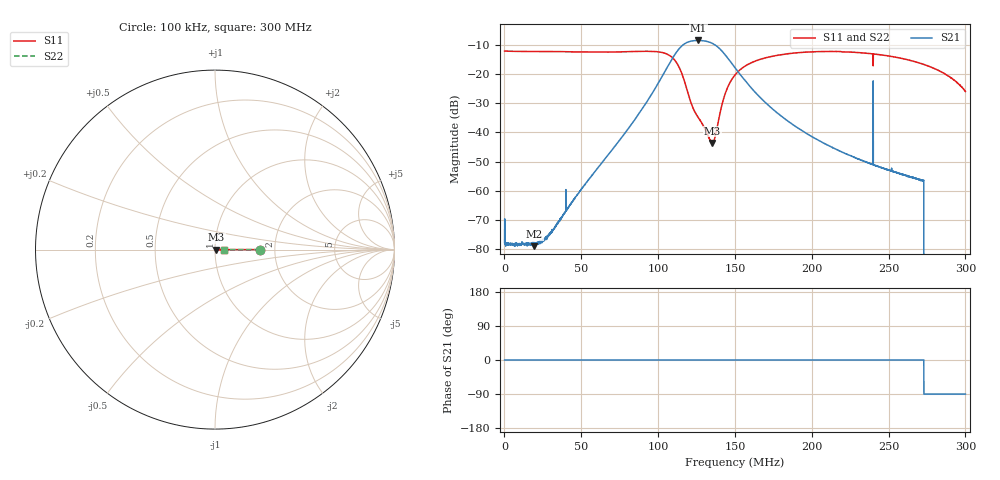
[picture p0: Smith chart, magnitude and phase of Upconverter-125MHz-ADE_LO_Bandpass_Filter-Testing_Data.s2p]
! ListType=Lin
! Comment=Upconverter-125MHz-ADE LO Bandpass Filter
# MHZ S DB R 50
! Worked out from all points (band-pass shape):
!   4000 points, 100 kHz to 300 MHz, reference 50 ohm
!   highest |S21| = -8.42 dB at 126.1 MHz (marker M1); lowest = -79.0 dB at 19.45 MHz (marker M2)
!   |S21| within 3 dB of the highest: 113.4 MHz to 140.4 MHz (26.95 MHz wide, 21.2 % of centre)
!   lowest |S11| = -43.6 dB at 135.2 MHz (marker M3), VSWR 1.01, Z = 50.7 + j0 ohm
!   |S11| at or under -10 dB: start of sweep to end of sweep
!   |S22| runs from -43.7 to -12.1 dB; largest |S21 - S12| = 0.38
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0.1  -12.08 0.0  -77.85 0.0  -3000.00 -90.0  -12.07 0.0
19.44839  -12.22 0.0  -79.04 0.0  -3000.00 -90.0  -12.22 0.0
29.19757  -12.24 0.0  -74.66 0.0  -3000.00 -90.0  -12.24 0.0
50.12083  -12.38 0.0  -59.39 0.0  -3000.00 -90.0  -12.38 0.0
82.66812  -12.24 0.0  -37.21 0.0  -3000.00 -90.0  -12.24 0.0
100.0667  -12.33 0.0  -23.11 0.0  -3000.00 -90.0  -12.33 0.0
107.3411  -13.53 0.0  -16.36 0.0  -3000.00 -90.0  -13.53 0.0
112.3656  -16.34 0.0  -12.15 0.0  -3000.00 -90.0  -16.34 0.0
118.3651  -24.51 0.0  -9.22 0.0  -3000.00 -90.0  -24.51 0.0
122.3398  -31.12 0.0  -8.56 0.0  -3000.00 -90.0  -31.12 0.0
126.0895  -34.80 0.0  -8.42 0.0  -3000.00 -90.0  -34.79 0.0
135.2387  -43.63 0.0  -9.40 0.0  -3000.00 -90.0  -43.62 0.0
137.2636  -41.29 0.0  -10.03 0.0  -3000.00 -90.0  -41.25 0.0
143.713  -26.65 0.0  -13.39 0.0  -3000.00 -90.0  -26.67 0.0
150.0875  -20.26 0.0  -17.81 0.0  -3000.00 -90.0  -20.26 0.0
167.1111  -14.81 0.0  -28.35 0.0  -3000.00 -90.0  -14.81 0.0
200.1083  -12.32 0.0  -41.45 0.0  -3000.00 -90.0  -12.32 0.0
250.0542  -13.75 0.0  -52.90 0.0  -3000.00 -90.0  -13.74 0.0
271.4274  -16.39 0.0  -56.47 0.0  -3000.00 -90.0  -16.36 0.0
274.5021  -16.94 0.0  -3000.00 -90.0  -3000.00 -90.0  -16.91 0.0
288.076  -20.40 0.0  -3000.00 -90.0  -3000.00 -90.0  -20.30 0.0
300  -25.90 0.0  -3000.00 -90.0  -3000.00 -90.0  -25.74 0.0
